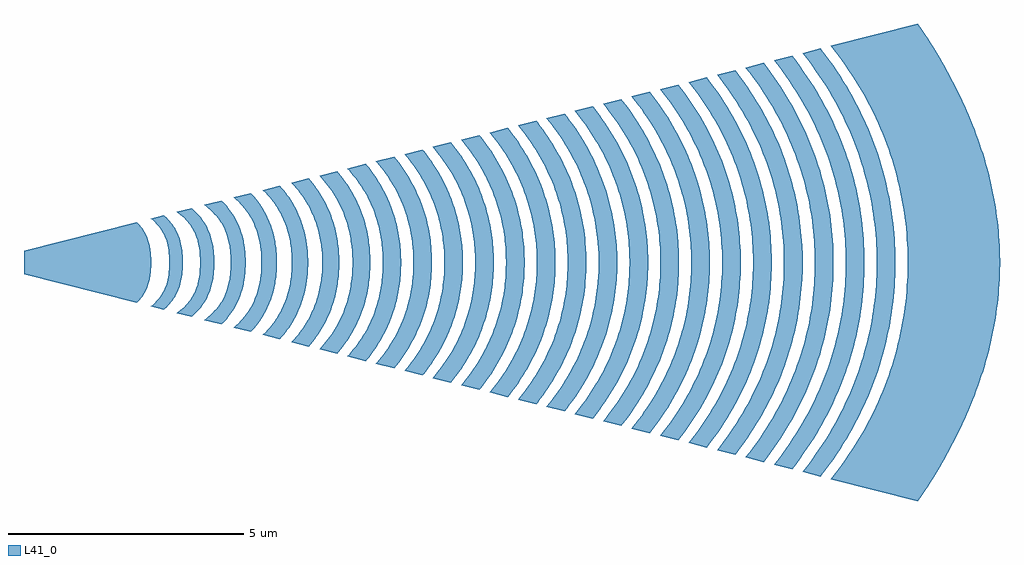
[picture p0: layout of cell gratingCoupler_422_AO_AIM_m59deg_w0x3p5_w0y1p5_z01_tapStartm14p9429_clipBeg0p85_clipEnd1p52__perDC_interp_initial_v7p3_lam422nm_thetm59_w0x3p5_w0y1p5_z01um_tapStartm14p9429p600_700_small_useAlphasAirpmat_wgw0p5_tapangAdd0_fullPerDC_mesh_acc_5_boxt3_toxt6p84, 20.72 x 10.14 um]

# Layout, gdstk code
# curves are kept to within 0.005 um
import gdstk
lib = gdstk.Library(unit=1e-6, precision=1e-09)
def P(c, l, *ps):  # polygons
    for p in ps: c.add(gdstk.Polygon(p, *l))
L41_0 = (41, 0)

gratingcoupler_422_ao_ai = lib.new_cell('gratingCoupler_422_AO_AIM_m59deg_w0x3p5_w0y1p5_z01_tapStartm14p9429_clipBeg0p85_clipEnd1p52__perDC_interp_initial_v7p3_lam422nm_thetm59_w0x3p5_w0y1p5_z01um_tapStartm14p9429p600_700_small_useAlphasAirpmat_wgw0p5_tapangAdd0_fullPerDC_mesh_acc_5_boxt3_toxt6p84')
P(gratingcoupler_422_ao_ai, L41_0, [(2.394,-0.858),(0,-0.25),(0,0.25),(2.394,0.858),(2.455,0.793),(2.531,0.692),(2.588,0.591),(2.63,0.489),(2.679,0.287),(2.7,0.017),(2.684,-0.253),(2.667,-0.354),(2.63,-0.489),(2.588,-0.591),(2.531,-0.692),(2.455,-0.793)],
  [(2.965,-1.003),(2.694,-0.934),(2.778,-0.861),(2.841,-0.793),(2.895,-0.726),(2.958,-0.624),(3.027,-0.456),(3.07,-0.253),(3.086,-0.051),(3.081,0.152),(3.06,0.321),(3.027,0.456),(2.975,0.591),(2.895,0.726),(2.811,0.827),(2.694,0.934),(2.965,1.003),(3.066,0.908),(3.13,0.834),(3.206,0.723),(3.263,0.612),(3.304,0.5),(3.333,0.389),(3.357,0.241),(3.37,0.056),(3.367,-0.13),(3.347,-0.315),(3.315,-0.463),(3.278,-0.575),(3.206,-0.723),(3.13,-0.834),(3.066,-0.908)],
  [(3.56,-1.154),(3.244,-1.074),(3.358,-0.982),(3.435,-0.908),(3.552,-0.76),(3.615,-0.649),(3.661,-0.538),(3.716,-0.315),(3.738,-0.093),(3.736,0.13),(3.716,0.315),(3.661,0.538),(3.596,0.686),(3.499,0.834),(3.398,0.945),(3.244,1.074),(3.56,1.154),(3.689,1.029),(3.789,0.908),(3.865,0.787),(3.924,0.666),(3.967,0.545),(4.006,0.384),(4.032,0.182),(4.039,0.02),(4.035,-0.141),(4.013,-0.343),(3.967,-0.545),(3.924,-0.666),(3.865,-0.787),(3.789,-0.908),(3.689,-1.029)],
  [(4.192,-1.314),(3.825,-1.221),(3.914,-1.151),(4.041,-1.029),(4.11,-0.949),(4.194,-0.828),(4.258,-0.706),(4.306,-0.585),(4.34,-0.464),(4.371,-0.303),(4.389,-0.101),(4.384,0.182),(4.365,0.343),(4.306,0.585),(4.217,0.787),(4.11,0.949),(4.002,1.07),(3.825,1.221),(4.192,1.314),(4.3,1.201),(4.403,1.07),(4.486,0.939),(4.57,0.764),(4.616,0.633),(4.661,0.458),(4.694,0.24),(4.705,0.065),(4.701,-0.153),(4.677,-0.371),(4.641,-0.546),(4.587,-0.72),(4.509,-0.895),(4.433,-1.026),(4.337,-1.157)],
  [(4.816,-1.473),(4.454,-1.381),(4.554,-1.288),(4.672,-1.157),(4.767,-1.026),(4.844,-0.895),(4.904,-0.764),(4.964,-0.589),(4.996,-0.458),(5.024,-0.284),(5.038,-0.109),(5.036,0.153),(5.024,0.284),(4.996,0.458),(4.937,0.677),(4.844,0.895),(4.738,1.07),(4.596,1.244),(4.454,1.381),(4.816,1.473),(4.97,1.291),(5.066,1.15),(5.145,1.009),(5.228,0.821),(5.289,0.634),(5.331,0.446),(5.357,0.258),(5.37,0.023),(5.365,-0.164),(5.339,-0.399),(5.289,-0.634),(5.228,-0.821),(5.145,-1.009),(5.066,-1.15),(4.97,-1.291)],
  [(5.435,-1.63),(5.07,-1.537),(5.213,-1.385),(5.322,-1.244),(5.412,-1.103),(5.486,-0.962),(5.546,-0.821),(5.593,-0.681),(5.64,-0.493),(5.67,-0.305),(5.688,-0.023),(5.675,0.258),(5.64,0.493),(5.579,0.728),(5.486,0.962),(5.384,1.15),(5.322,1.244),(5.213,1.385),(5.07,1.537),(5.435,1.63),(5.594,1.431),(5.723,1.23),(5.801,1.079),(5.885,0.879),(5.947,0.678),(5.991,0.477),(6.023,0.226),(6.032,0.025),(6.023,-0.226),(5.991,-0.477),(5.947,-0.678),(5.885,-0.879),(5.801,-1.079),(5.723,-1.23),(5.594,-1.431)],
  [(6.043,-1.784),(5.68,-1.692),(5.819,-1.531),(5.93,-1.381),(6.052,-1.18),(6.125,-1.029),(6.186,-0.879),(6.261,-0.628),(6.292,-0.477),(6.32,-0.276),(6.333,-0.025),(6.32,0.276),(6.283,0.527),(6.203,0.828),(6.102,1.079),(5.995,1.28),(5.858,1.481),(5.68,1.692),(6.043,1.784),(6.207,1.577),(6.313,1.417),(6.429,1.203),(6.52,0.989),(6.604,0.722),(6.649,0.508),(6.683,0.241),(6.692,0.027),(6.683,-0.241),(6.649,-0.508),(6.604,-0.722),(6.52,-0.989),(6.429,-1.203),(6.313,-1.417),(6.207,-1.577)],
  [(6.646,-1.937),(6.275,-1.843),(6.411,-1.684),(6.529,-1.524),(6.659,-1.31),(6.738,-1.149),(6.824,-0.935),(6.874,-0.775),(6.924,-0.561),(6.957,-0.347),(6.977,-0.027),(6.967,0.241),(6.924,0.561),(6.842,0.882),(6.762,1.096),(6.629,1.363),(6.529,1.524),(6.452,1.63),(6.275,1.843),(6.646,1.937),(6.813,1.729),(6.927,1.559),(7.053,1.332),(7.152,1.106),(7.229,0.879),(7.296,0.595),(7.336,0.312),(7.35,0.028),(7.341,-0.255),(7.306,-0.539),(7.259,-0.765),(7.173,-1.049),(7.08,-1.276),(6.961,-1.503),(6.813,-1.729)],
  [(7.257,-2.092),(6.866,-1.993),(7.04,-1.786),(7.16,-1.616),(7.263,-1.446),(7.375,-1.219),(7.443,-1.049),(7.514,-0.822),(7.575,-0.539),(7.605,-0.312),(7.62,-0.028),(7.605,0.312),(7.554,0.652),(7.481,0.936),(7.375,1.219),(7.23,1.503),(7.122,1.673),(7.04,1.786),(6.866,1.993),(7.257,2.092),(7.416,1.888),(7.606,1.588),(7.699,1.409),(7.822,1.109),(7.896,0.869),(7.96,0.569),(7.991,0.33),(8.007,0.03),(7.996,-0.27),(7.96,-0.569),(7.896,-0.869),(7.822,-1.109),(7.699,-1.409),(7.606,-1.588),(7.416,-1.888)],
  [(7.862,-2.246),(7.472,-2.147),(7.678,-1.888),(7.834,-1.648),(7.961,-1.409),(8.062,-1.169),(8.158,-0.869),(8.222,-0.569),(8.253,-0.33),(8.269,-0.03),(8.263,0.21),(8.222,0.569),(8.158,0.869),(8.084,1.109),(7.961,1.409),(7.834,1.648),(7.678,1.888),(7.472,2.147),(7.862,2.246),(8.055,1.99),(8.213,1.737),(8.343,1.484),(8.447,1.232),(8.529,0.979),(8.602,0.663),(8.646,0.347),(8.662,0.032),(8.651,-0.284),(8.613,-0.6),(8.546,-0.916),(8.447,-1.232),(8.343,-1.484),(8.213,-1.737),(8.055,-1.99)],
  [(8.46,-2.398),(8.079,-2.301),(8.273,-2.053),(8.438,-1.8),(8.575,-1.548),(8.709,-1.232),(8.791,-0.979),(8.864,-0.663),(8.908,-0.347),(8.924,-0.032),(8.918,0.221),(8.875,0.6),(8.824,0.853),(8.732,1.169),(8.605,1.484),(8.475,1.737),(8.273,2.053),(8.079,2.301),(8.46,2.398),(8.644,2.158),(8.853,1.826),(8.987,1.56),(9.095,1.295),(9.197,0.963),(9.255,0.697),(9.294,0.432),(9.317,0.033),(9.306,-0.299),(9.286,-0.498),(9.255,-0.697),(9.197,-0.963),(9.095,-1.295),(8.987,-1.56),(8.853,-1.826),(8.644,-2.158)],
  [(9.064,-2.551),(8.676,-2.453),(8.906,-2.158),(9.077,-1.892),(9.218,-1.627),(9.357,-1.295),(9.459,-0.963),(9.529,-0.631),(9.568,-0.299),(9.579,-0.033),(9.568,0.299),(9.529,0.631),(9.459,0.963),(9.357,1.295),(9.218,1.627),(9.077,1.892),(8.906,2.158),(8.676,2.453),(9.064,2.551),(9.28,2.263),(9.454,1.984),(9.599,1.706),(9.742,1.358),(9.829,1.079),(9.908,0.731),(9.955,0.383),(9.972,0.035),(9.961,-0.313),(9.92,-0.661),(9.847,-1.01),(9.742,-1.358),(9.599,-1.706),(9.454,-1.984),(9.28,-2.263)],
  [(9.668,-2.704),(9.281,-2.606),(9.493,-2.332),(9.676,-2.054),(9.861,-1.706),(10.004,-1.358),(10.11,-1.01),(10.17,-0.731),(10.217,-0.383),(10.235,-0.035),(10.223,0.313),(10.182,0.661),(10.11,1.01),(10.004,1.358),(9.861,1.706),(9.676,2.054),(9.493,2.332),(9.281,2.606),(9.668,2.704),(9.866,2.441),(10.094,2.076),(10.242,1.785),(10.363,1.494),(10.479,1.129),(10.561,0.765),(10.61,0.401),(10.628,0.036),(10.616,-0.328),(10.573,-0.692),(10.498,-1.056),(10.389,-1.421),(10.242,-1.785),(10.094,-2.076),(9.866,-2.441)],
  [(10.272,-2.858),(9.885,-2.759),(10.128,-2.441),(10.314,-2.149),(10.504,-1.785),(10.625,-1.494),(10.741,-1.129),(10.823,-0.765),(10.872,-0.401),(10.89,-0.036),(10.872,0.401),(10.823,0.765),(10.741,1.129),(10.625,1.494),(10.504,1.785),(10.314,2.149),(10.128,2.441),(9.885,2.759),(10.272,2.858),(10.5,2.549),(10.69,2.244),(10.849,1.94),(11.009,1.56),(11.129,1.179),(11.213,0.799),(11.257,0.495),(11.283,0.038),(11.27,-0.342),(11.226,-0.723),(11.149,-1.103),(11.036,-1.484),(10.884,-1.864),(10.69,-2.244),(10.5,-2.549)],
  [(10.873,-3.01),(10.489,-2.913),(10.762,-2.549),(10.952,-2.244),(11.111,-1.94),(11.271,-1.56),(11.391,-1.179),(11.475,-0.799),(11.519,-0.495),(11.538,-0.266),(11.545,-0.038),(11.533,0.342),(11.51,0.571),(11.475,0.799),(11.391,1.179),(11.271,1.56),(11.111,1.94),(10.952,2.244),(10.762,2.549),(10.489,2.913),(10.873,3.01),(11.021,2.816),(11.131,2.657),(11.326,2.34),(11.49,2.022),(11.655,1.626),(11.757,1.309),(11.852,0.912),(11.891,0.674),(11.919,0.436),(11.938,0.04),(11.931,-0.278),(11.911,-0.516),(11.879,-0.753),(11.799,-1.15),(11.683,-1.547),(11.526,-1.943),(11.452,-2.102),(11.326,-2.34),(11.131,-2.657),(11.021,-2.816)],
  [(11.476,-3.163),(11.091,-3.066),(11.339,-2.736),(11.543,-2.419),(11.674,-2.181),(11.752,-2.022),(11.917,-1.626),(12.019,-1.309),(12.114,-0.912),(12.142,-0.753),(12.181,-0.436),(12.2,-0.04),(12.193,0.278),(12.173,0.516),(12.142,0.753),(12.062,1.15),(11.996,1.388),(11.917,1.626),(11.752,2.022),(11.674,2.181),(11.543,2.419),(11.339,2.736),(11.091,3.066),(11.476,3.163),(11.709,2.848),(11.869,2.6),(11.964,2.435),(12.133,2.105),(12.302,1.692),(12.43,1.279),(12.519,0.867),(12.574,0.454),(12.594,0.041),(12.59,-0.206),(12.574,-0.454),(12.533,-0.784),(12.451,-1.197),(12.331,-1.61),(12.17,-2.022),(12.052,-2.27),(11.964,-2.435),(11.869,-2.6),(11.709,-2.848)],
  [(12.079,-3.316),(11.694,-3.219),(11.971,-2.848),(12.18,-2.518),(12.356,-2.187),(12.534,-1.775),(12.669,-1.362),(12.767,-0.949),(12.828,-0.537),(12.848,-0.289),(12.856,-0.041),(12.843,0.371),(12.818,0.619),(12.782,0.867),(12.692,1.279),(12.564,1.692),(12.502,1.857),(12.395,2.105),(12.18,2.518),(11.971,2.848),(11.694,3.219),(12.079,3.316),(12.34,2.959),(12.554,2.616),(12.648,2.445),(12.775,2.187),(12.85,2.016),(12.949,1.758),(13.08,1.329),(13.173,0.901),(13.229,0.472),(13.249,0.043),(13.245,-0.214),(13.229,-0.472),(13.173,-0.901),(13.08,-1.329),(12.949,-1.758),(12.85,-2.016),(12.775,-2.187),(12.648,-2.445),(12.554,-2.616),(12.34,-2.959)],
  [(12.683,-3.47),(12.296,-3.372),(12.543,-3.045),(12.714,-2.788),(12.816,-2.616),(12.997,-2.273),(13.18,-1.844),(13.319,-1.415),(13.384,-1.158),(13.435,-0.901),(13.491,-0.472),(13.512,-0.043),(13.507,0.214),(13.491,0.472),(13.435,0.901),(13.342,1.329),(13.295,1.501),(13.211,1.758),(13.147,1.93),(13.037,2.187),(12.91,2.445),(12.816,2.616),(12.714,2.788),(12.543,3.045),(12.296,3.372),(12.683,3.47),(12.971,3.071),(13.19,2.715),(13.332,2.448),(13.416,2.27),(13.529,2.003),(13.595,1.825),(13.707,1.469),(13.773,1.202),(13.826,0.935),(13.865,0.668),(13.891,0.401),(13.905,0.045),(13.891,-0.401),(13.865,-0.668),(13.826,-0.935),(13.773,-1.202),(13.707,-1.469),(13.595,-1.825),(13.529,-2.003),(13.416,-2.27),(13.332,-2.448),(13.19,-2.715),(12.971,-3.071)],
  [(13.287,-3.623),(12.901,-3.525),(13.173,-3.16),(13.401,-2.804),(13.549,-2.537),(13.637,-2.359),(13.718,-2.181),(13.825,-1.914),(13.888,-1.736),(13.969,-1.469),(14.036,-1.202),(14.072,-1.024),(14.116,-0.757),(14.146,-0.49),(14.167,-0.045),(14.153,0.401),(14.103,0.846),(14.055,1.113),(13.993,1.38),(13.857,1.825),(13.791,2.003),(13.678,2.27),(13.549,2.537),(13.452,2.715),(13.347,2.893),(13.173,3.16),(12.901,3.525),(13.287,3.623),(13.542,3.274),(13.72,2.998),(13.827,2.813),(13.926,2.629),(14.058,2.352),(14.137,2.168),(14.242,1.891),(14.357,1.522),(14.463,1.061),(14.507,0.784),(14.539,0.507),(14.561,0.046),(14.556,-0.231),(14.539,-0.507),(14.479,-0.968),(14.445,-1.153),(14.381,-1.43),(14.242,-1.891),(14.137,-2.168),(14.058,-2.352),(13.926,-2.629),(13.827,-2.813),(13.72,-2.998),(13.542,-3.274)],
  [(13.891,-3.776),(13.505,-3.678),(13.74,-3.367),(13.866,-3.182),(14.037,-2.905),(14.14,-2.721),(14.279,-2.444),(14.4,-2.168),(14.471,-1.983),(14.536,-1.799),(14.619,-1.522),(14.687,-1.245),(14.742,-0.968),(14.801,-0.507),(14.823,-0.046),(14.819,0.231),(14.801,0.507),(14.742,0.968),(14.643,1.43),(14.593,1.614),(14.504,1.891),(14.4,2.168),(14.321,2.352),(14.188,2.629),(14.089,2.813),(13.982,2.998),(13.804,3.274),(13.674,3.459),(13.505,3.678),(13.891,3.776),(14.106,3.485),(14.234,3.294),(14.463,2.912),(14.657,2.53),(14.742,2.339),(14.855,2.053),(14.921,1.862),(15.007,1.575),(15.116,1.098),(15.185,0.621),(15.208,0.334),(15.217,0.048),(15.212,-0.239),(15.194,-0.525),(15.133,-1.002),(15.032,-1.48),(14.98,-1.671),(14.889,-1.957),(14.819,-2.148),(14.7,-2.434),(14.612,-2.625),(14.463,-2.912),(14.234,-3.294),(14.106,-3.485)],
  [(14.493,-3.929),(14.109,-3.832),(14.434,-3.389),(14.615,-3.103),(14.725,-2.912),(14.92,-2.53),(15.044,-2.243),(15.117,-2.053),(15.214,-1.766),(15.269,-1.575),(15.34,-1.289),(15.378,-1.098),(15.411,-0.907),(15.447,-0.621),(15.47,-0.334),(15.479,-0.048),(15.475,0.239),(15.464,0.43),(15.411,0.907),(15.318,1.384),(15.242,1.671),(15.151,1.957),(15.082,2.148),(14.963,2.434),(14.827,2.721),(14.725,2.912),(14.615,3.103),(14.434,3.389),(14.109,3.832),(14.493,3.929),(14.801,3.504),(15.045,3.109),(15.153,2.912),(15.299,2.616),(15.386,2.418),(15.502,2.122),(15.6,1.826),(15.683,1.53),(15.73,1.332),(15.787,1.036),(15.817,0.839),(15.849,0.543),(15.873,0.049),(15.857,-0.444),(15.829,-0.74),(15.787,-1.036),(15.73,-1.332),(15.683,-1.53),(15.6,-1.826),(15.502,-2.122),(15.386,-2.418),(15.299,-2.616),(15.153,-2.912),(15.045,-3.109),(14.801,-3.504)],
  [(15.1,-4.083),(14.713,-3.985),(14.996,-3.603),(15.128,-3.405),(15.307,-3.109),(15.415,-2.912),(15.561,-2.616),(15.689,-2.319),(15.764,-2.122),(15.832,-1.925),(15.92,-1.629),(16.032,-1.135),(16.103,-0.642),(16.126,-0.345),(16.135,-0.049),(16.131,0.247),(16.12,0.444),(16.103,0.642),(16.065,0.938),(16.013,1.234),(15.946,1.53),(15.863,1.826),(15.799,2.023),(15.728,2.221),(15.606,2.517),(15.515,2.714),(15.362,3.01),(15.25,3.208),(15.063,3.504),(14.855,3.8),(14.713,3.985),(15.1,4.083),(15.293,3.822),(15.432,3.619),(15.561,3.415),(15.738,3.109),(15.844,2.905),(15.987,2.599),(16.149,2.192),(16.25,1.886),(16.308,1.682),(16.423,1.172),(16.496,0.663),(16.52,0.357),(16.529,0.051),(16.528,-0.153),(16.505,-0.561),(16.441,-1.07),(16.335,-1.58),(16.25,-1.886),(16.149,-2.192),(15.987,-2.599),(15.844,-2.905),(15.738,-3.109),(15.561,-3.415),(15.432,-3.619),(15.293,-3.822)],
  [(15.704,-4.237),(15.318,-4.139),(15.627,-3.721),(15.761,-3.517),(15.944,-3.211),(16.054,-3.007),(16.204,-2.701),(16.293,-2.497),(16.411,-2.192),(16.481,-1.988),(16.571,-1.682),(16.686,-1.172),(16.734,-0.866),(16.768,-0.561),(16.792,-0.051),(16.776,0.459),(16.72,0.968),(16.686,1.172),(16.622,1.478),(16.543,1.784),(16.447,2.09),(16.334,2.395),(16.204,2.701),(16.106,2.905),(15.944,3.211),(15.761,3.517),(15.627,3.721),(15.318,4.139),(15.704,4.237),(15.993,3.839),(16.195,3.523),(16.317,3.313),(16.484,2.997),(16.583,2.787),(16.717,2.471),(16.796,2.261),(16.9,1.946),(16.959,1.735),(17.012,1.525),(17.077,1.209),(17.127,0.894),(17.161,0.578),(17.186,0.053),(17.181,-0.263),(17.161,-0.578),(17.127,-0.894),(17.095,-1.104),(17.035,-1.42),(16.959,-1.735),(16.9,-1.946),(16.796,-2.261),(16.717,-2.471),(16.583,-2.787),(16.484,-2.997),(16.317,-3.313),(16.195,-3.523),(15.993,-3.839)],
  [(16.311,-4.391),(15.923,-4.292),(16.108,-4.049),(16.255,-3.839),(16.458,-3.523),(16.58,-3.313),(16.693,-3.102),(16.846,-2.787),(16.98,-2.471),(17.059,-2.261),(17.13,-2.051),(17.222,-1.735),(17.298,-1.42),(17.34,-1.209),(17.403,-0.789),(17.424,-0.578),(17.444,-0.263),(17.448,-0.053),(17.444,0.263),(17.424,0.578),(17.403,0.789),(17.358,1.104),(17.298,1.42),(17.222,1.735),(17.13,2.051),(17.059,2.261),(16.98,2.471),(16.846,2.787),(16.693,3.102),(16.58,3.313),(16.458,3.523),(16.255,3.839),(16.108,4.049),(15.923,4.292),(16.311,4.391),(16.473,4.174),(16.695,3.848),(16.955,3.415),(17.071,3.198),(17.227,2.873),(17.32,2.656),(17.444,2.331),(17.517,2.114),(17.611,1.789),(17.665,1.572),(17.731,1.247),(17.767,1.03),(17.807,0.705),(17.833,0.379),(17.843,0.054),(17.838,-0.271),(17.826,-0.488),(17.796,-0.813),(17.75,-1.138),(17.689,-1.463),(17.639,-1.68),(17.55,-2.005),(17.444,-2.331),(17.32,-2.656),(17.227,-2.873),(17.071,-3.198),(16.955,-3.415),(16.695,-3.848),(16.473,-4.174)],
  [(16.913,-4.544),(16.53,-4.446),(16.735,-4.174),(16.886,-3.957),(17.027,-3.74),(17.218,-3.415),(17.334,-3.198),(17.49,-2.873),(17.583,-2.656),(17.707,-2.331),(17.78,-2.114),(17.874,-1.789),(17.928,-1.572),(17.994,-1.247),(18.03,-1.03),(18.07,-0.705),(18.095,-0.379),(18.105,-0.054),(18.104,0.163),(18.089,0.488),(18.059,0.813),(18.013,1.138),(17.952,1.463),(17.902,1.68),(17.813,2.005),(17.707,2.331),(17.583,2.656),(17.49,2.873),(17.334,3.198),(17.218,3.415),(17.027,3.74),(16.886,3.957),(16.735,4.174),(16.53,4.446),(16.913,4.544),(17.098,4.298),(17.252,4.075),(17.396,3.852),(17.593,3.517),(17.767,3.182),(17.871,2.959),(18.011,2.624),(18.093,2.4),(18.167,2.177),(18.264,1.842),(18.343,1.507),(18.386,1.284),(18.423,1.061),(18.464,0.726),(18.489,0.391),(18.5,0.056),(18.495,-0.279),(18.483,-0.502),(18.452,-0.837),(18.405,-1.172),(18.343,-1.507),(18.264,-1.842),(18.167,-2.177),(18.093,-2.4),(18.011,-2.624),(17.871,-2.959),(17.767,-3.182),(17.593,-3.517),(17.396,-3.852),(17.252,-4.075),(17.098,-4.298)],
  [(18.979,-5.068),(17.133,-4.599),(17.361,-4.298),(17.515,-4.075),(17.659,-3.852),(17.856,-3.517),(18.03,-3.182),(18.134,-2.959),(18.316,-2.512),(18.43,-2.177),(18.527,-1.842),(18.606,-1.507),(18.649,-1.284),(18.686,-1.061),(18.727,-0.726),(18.752,-0.391),(18.763,-0.056),(18.758,0.279),(18.746,0.502),(18.715,0.837),(18.668,1.172),(18.606,1.507),(18.527,1.842),(18.43,2.177),(18.356,2.4),(18.274,2.624),(18.134,2.959),(18.03,3.182),(17.856,3.517),(17.659,3.852),(17.515,4.075),(17.361,4.298),(17.133,4.599),(18.979,5.068),(19.184,4.761),(19.376,4.454),(19.555,4.146),(19.721,3.839),(19.875,3.532),(20.015,3.225),(20.143,2.918),(20.259,2.611),(20.361,2.304),(20.477,1.894),(20.55,1.587),(20.61,1.28),(20.657,0.973),(20.691,0.665),(20.712,0.358),(20.721,0.051),(20.712,-0.358),(20.691,-0.665),(20.657,-0.973),(20.61,-1.28),(20.55,-1.587),(20.477,-1.894),(20.361,-2.304),(20.259,-2.611),(20.143,-2.918),(20.015,-3.225),(19.875,-3.532),(19.721,-3.839),(19.555,-4.146),(19.376,-4.454),(19.184,-4.761)])

lib.write_gds('gratingCoupler_422_AO_AIM_m59deg_w0x3p5_w0y1p5_z01_tapStartm14p9429_clipBeg0p85_clipEnd1p52__perDC_interp_initial_v7p3_lam422nm_thetm59_w0x3p5_w0y1p5_z01um_tapStartm14p9429p600_700_small_useAlphasAirpmat_wgw0p5_tapangAdd0_fullPerDC_mesh_acc_5_boxt3_toxt6p84.gds')
